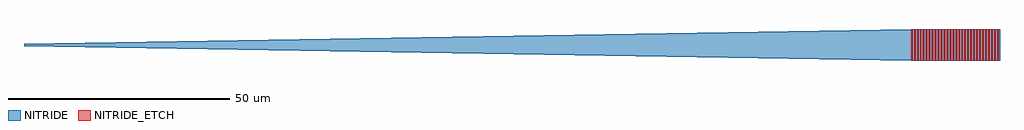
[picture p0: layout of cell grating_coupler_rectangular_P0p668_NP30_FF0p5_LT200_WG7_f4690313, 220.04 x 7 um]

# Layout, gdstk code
import gdstk
lib = gdstk.Library(unit=1e-6, precision=1e-09)
def R(c, l, rs):  # rectangles x0, y0, x1, y1
    for r in rs: c.add(gdstk.rectangle(r[:2], r[2:], *l))
def A(c, l, x, y, w, h, nx, ny, dx, dy):  # array of equal rectangles
    R(c, l, [(x+i*dx, y+j*dy, x+i*dx+w, y+j*dy+h) for i in range(nx) for j in range(ny)])
def P(c, l, *ps):  # polygons
    for p in ps: c.add(gdstk.Polygon(p, *l))
NITRIDE = (203, 0)
NITRIDE_ETCH = (204, 0)

grating_coupler_rectangu = lib.new_cell('grating_coupler_rectangular_P0p668_NP30_FF0p5_LT200_WG7_f4690313')
P(grating_coupler_rectangu, NITRIDE, [(200,-3.5),(0,-0.25),(0,0.25),(200,3.5),(220.04,3.5),(220.04,-3.5)])
A(grating_coupler_rectangu, NITRIDE_ETCH, 200, -3.5, 0.334, 7, 30, 1, 0.668, 0)

lib.write_gds('grating_coupler_rectangular_P0p668_NP30_FF0p5_LT200_WG7_f4690313.gds')
